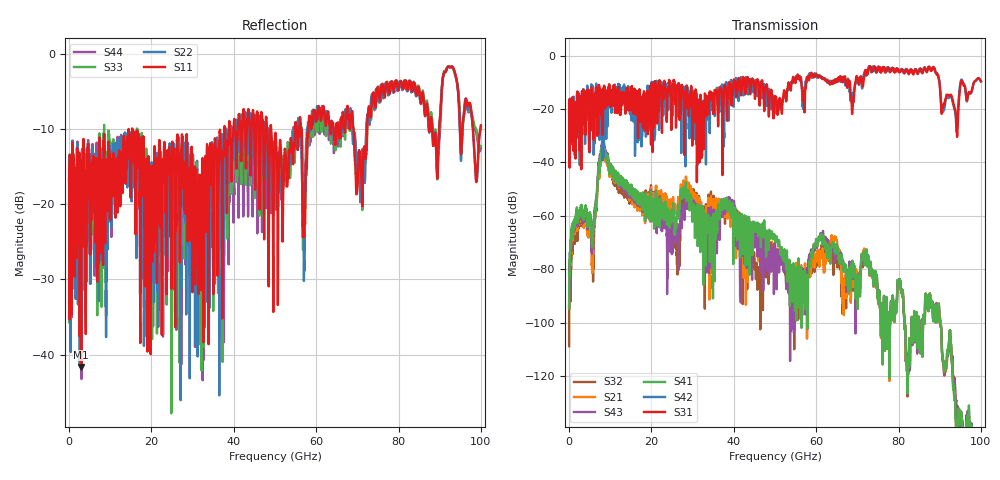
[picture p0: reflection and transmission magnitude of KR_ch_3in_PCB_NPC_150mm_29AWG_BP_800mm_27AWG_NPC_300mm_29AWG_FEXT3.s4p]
# GHz S RI R 45
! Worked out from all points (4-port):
!   4000 points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, 25 MHz to 100 GHz, reference 45 ohm
!   strongest paths, dB at 25 MHz, 25.02 GHz, 50.02 GHz, 75.03 GHz, 100 GHz:
!     S31: -21.2, -12.7, -15.6, -5.0, -9.6
!     S42: -21.3, -17.5, -18.0, -4.3, -9.8
!     S41: -94.6, -61.1, -67.9, -90.1, -144.5
!     S43: -94.4, -72.1, -71.1, -90.0, -151.6
!     S21: -94.6, -56.9, -74.4, -90.3, -149.8
!     S32: -108.9, -66.8, -74.7, -90.2, -152.0
!   lowest |S11| = -41.6 dB at 2.95 GHz (marker M1), VSWR 1.02, Z = 45.7 - j0.0538 ohm
!   |S11| at or under -10 dB: start of sweep to 14.45 GHz; 15.35 GHz to 37.72 GHz (22.37 GHz wide, 84.3 % of centre); 49.08 GHz to 54.89 GHz (5.809 GHz wide, 11.2 % of centre)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
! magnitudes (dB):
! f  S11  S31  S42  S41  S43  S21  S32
! 25 MHz  -16.5  -21.2  -21.3  -94.6  -94.4  -94.6  -108.9
! 2.95 GHz  -41.6  -20.2  -21.3  -57.1  -59.3  -59.4  -61.0
! 5.75 GHz  -14.6  -20.1  -19.7  -69.3  -68.1  -73.7  -75.9
! 8.3 GHz  -18.8  -15.7  -18.7  -32.3  -31.4  -34.0  -32.8
! 24.62 GHz  -20.3  -13.7  -12.1  -58.3  -67.3  -53.8  -61.8
! 38.65 GHz  -12.0  -16.1  -14.6  -56.5  -54.5  -58.5  -56.1
! 100 GHz  -9.5  -9.6  -9.8  -144.5  -151.6  -149.8  -152.0
